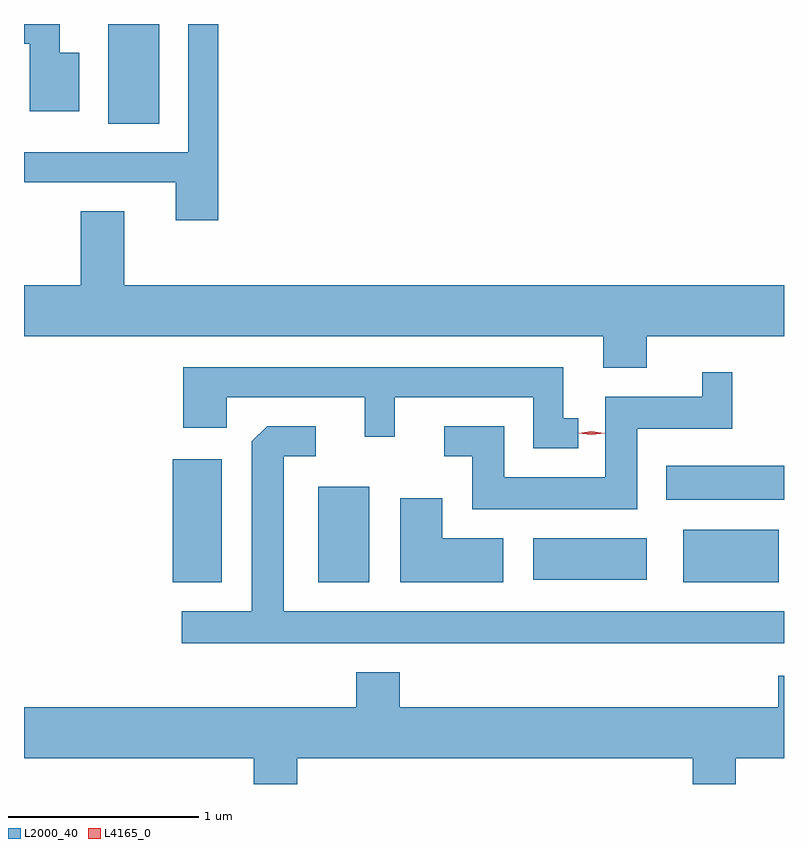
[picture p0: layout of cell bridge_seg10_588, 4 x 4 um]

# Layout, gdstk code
import gdstk
lib = gdstk.Library(unit=1e-6, precision=1e-09)
def R(c, l, rs):  # rectangles x0, y0, x1, y1
    for r in rs: c.add(gdstk.rectangle(r[:2], r[2:], *l))
def P(c, l, *ps):  # polygons
    for p in ps: c.add(gdstk.Polygon(p, *l))
L2000_40 = (2000, 40)
L4165_0 = (4165, 0)

bridge_seg10_588 = lib.new_cell('bridge_seg10_588')
R(bridge_seg10_588, L2000_40, [(701.446,2134.821,701.704,2135.469), (702.211,2134.821,702.479,2135.324), (704.131,2134.821,704.634,2135.099), (703.341,2134.836,703.939,2135.054), (704.041,2135.256,704.662,2135.434), (701.106,2137.236,701.374,2137.76)])
P(bridge_seg10_588, L2000_40, [(700.954,2137.609),(700.849,2137.609),(700.849,2137.76),(700.662,2137.76),(700.662,2137.656),(700.691,2137.656),(700.691,2137.301),(700.954,2137.301)],
  [(701.684,2137.76),(701.526,2137.76),(701.526,2137.084),(700.662,2137.084),(700.662,2136.926),(701.461,2136.926),(701.461,2136.726),(701.684,2136.726)],
  [(703.939,2136.116),(704.662,2136.116),(704.662,2136.384),(701.189,2136.384),(701.189,2136.774),(700.961,2136.774),(700.961,2136.384),(700.662,2136.384),(700.662,2136.116),(703.711,2136.116),(703.711,2135.951),(703.939,2135.951)],
  [(703.578,2135.684),(703.499,2135.684),(703.499,2135.954),(701.501,2135.954),(701.501,2135.636),(701.729,2135.636),(701.729,2135.796),(702.456,2135.796),(702.456,2135.588),(702.614,2135.588),(702.614,2135.796),(703.341,2135.796),(703.341,2135.526),(703.578,2135.526)],
  [(703.889,2135.631),(704.389,2135.631),(704.389,2135.928),(704.231,2135.928),(704.231,2135.799),(703.721,2135.799),(703.721,2135.374),(703.189,2135.374),(703.189,2135.644),(702.873,2135.644),(702.873,2135.486),(703.021,2135.486),(703.021,2135.206),(703.889,2135.206)],
  [(704.662,2134.669),(702.029,2134.669),(702.029,2135.486),(702.198,2135.486),(702.198,2135.644),(701.942,2135.644),(701.861,2135.564),(701.861,2134.669),(701.493,2134.669),(701.493,2134.501),(704.662,2134.501)],
  [(703.184,2135.054),(702.864,2135.054),(702.864,2135.264),(702.641,2135.264),(702.641,2134.821),(703.184,2134.821)],
  [(702.099,2133.896),(704.181,2133.896),(704.181,2133.76),(704.409,2133.76),(704.409,2133.896),(704.662,2133.896),(704.662,2134.329),(704.631,2134.329),(704.631,2134.164),(702.639,2134.164),(702.639,2134.349),(702.411,2134.349),(702.411,2134.164),(700.662,2134.164),(700.662,2133.896),(701.871,2133.896),(701.871,2133.76),(702.099,2133.76)])
P(bridge_seg10_588, L4165_0, [(703.648,2135.597),(703.579,2135.606),(703.579,2135.607),(703.579,2135.607),(703.648,2135.617),(703.718,2135.607),(703.718,2135.607),(703.718,2135.606)])

lib.write_gds('bridge_seg10_588.gds')
